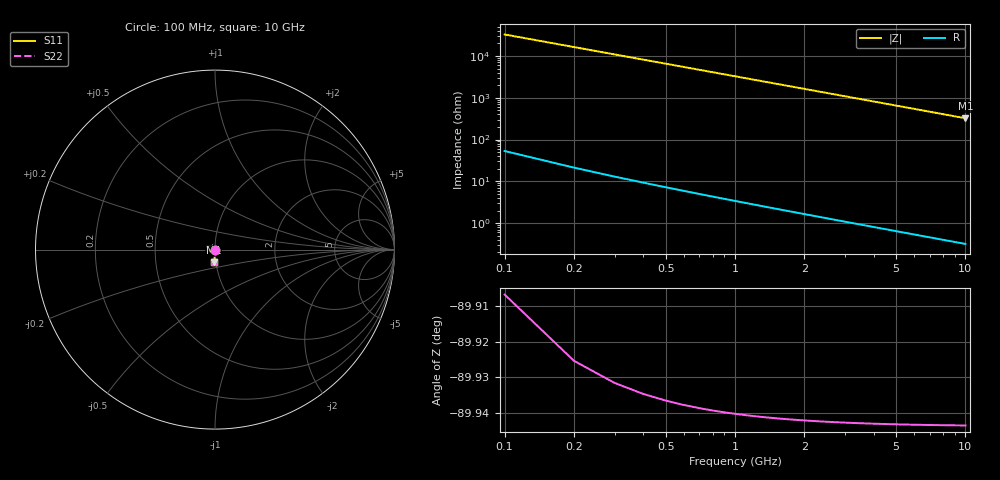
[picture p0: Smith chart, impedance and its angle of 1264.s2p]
# Hz S RI R 50.00
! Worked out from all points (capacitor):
!   100 points, 100 MHz to 10 GHz, reference 50 ohm
!   read as one part in shunt: C = 48.7 fF near 100 MHz
!   lowest |Z| = 323 ohm at 10 GHz (marker M1)
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1e8  1.82e-05 -0.000704  1 -0.000827  1 -0.000827  1.82e-05 -0.000704
2e8  1.59e-05 -0.00141  1 -0.00165  1 -0.00165  1.59e-05 -0.00141
3e8  1.23e-05 -0.00211  1 -0.00248  1 -0.00248  1.23e-05 -0.00211
4e8  7.59e-06 -0.00282  1 -0.00331  1 -0.00331  7.59e-06 -0.00282
5e8  1.68e-06 -0.00352  1 -0.00414  1 -0.00414  1.68e-06 -0.00352
6e8  -5.41e-06 -0.00422  1 -0.00496  1 -0.00496  -5.41e-06 -0.00422
7e8  -1.37e-05 -0.00493  0.9999 -0.00579  0.9999 -0.00579  -1.37e-05 -0.00493
8e8  -2.31e-05 -0.00563  0.9999 -0.00662  0.9999 -0.00662  -2.31e-05 -0.00563
9e8  -3.37e-05 -0.00634  0.9999 -0.00745  0.9999 -0.00745  -3.37e-05 -0.00634
1.1e9  -5.84e-05 -0.00774  0.9999 -0.0091  0.9999 -0.0091  -5.84e-05 -0.00774
1.4e9  -0.000104 -0.00986  0.9999 -0.0116  0.9999 -0.0116  -0.000104 -0.00986
1.8e9  -0.000182 -0.0127  0.9998 -0.0149  0.9998 -0.0149  -0.000182 -0.0127
2.1e9  -0.000252 -0.0148  0.9997 -0.0174  0.9997 -0.0174  -0.000252 -0.0148
2.5e9  -0.000363 -0.0176  0.9996 -0.0207  0.9996 -0.0207  -0.000363 -0.0176
2.9e9  -0.000492 -0.0204  0.9995 -0.024  0.9995 -0.024  -0.000492 -0.0204
3.4e9  -0.000681 -0.024  0.9993 -0.0282  0.9993 -0.0282  -0.000681 -0.024
4.2e9  -0.00104 -0.0296  0.9989 -0.0348  0.9989 -0.0348  -0.00104 -0.0296
5.1e9  -0.00154 -0.036  0.9984 -0.0423  0.9984 -0.0423  -0.00154 -0.036
5.9e9  -0.00207 -0.0417  0.9979 -0.049  0.9979 -0.049  -0.00207 -0.0417
6.7e9  -0.00267 -0.0473  0.9972 -0.0557  0.9972 -0.0557  -0.00267 -0.0473
8.4e9  -0.00421 -0.0594  0.9957 -0.0699  0.9957 -0.0699  -0.00421 -0.0594
1e10  -0.00597 -0.0707  0.9939 -0.0832  0.9939 -0.0832  -0.00597 -0.0707
